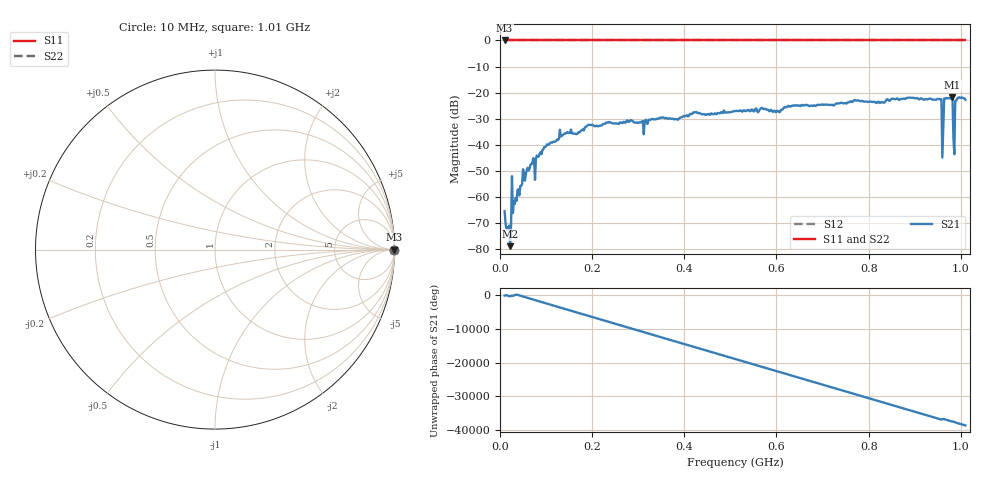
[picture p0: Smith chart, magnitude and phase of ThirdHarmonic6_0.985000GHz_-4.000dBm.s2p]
! 8/16/2025 7:41:47 AM
! C:\ANRITSUVNA\TEMP\TEMP.S2P
! CHANNEL.1
! TR.MEASUREMENT
! RAW.DATA
! RF.CORRECTION.OFF
! AVERAGING.OFF
! IF.BANDWIDTH: 5KHZ
! SWEEPTYPE:  FREQ.SWEEP(Linear)
! Reference Plane Port Info
! PORT:  PORT1  PORT2
! DISTANCE:  0  m  0  m
! TIME:  0  s  0  s
! PHASE.OFFSET:  0  deg.  0  deg.
! LOSS:  0  dB  0  dB
! REF.LOSS:  0  dB  0  dB
! REF.FREQ:  0  Hz  0  Hz
! Power Info
! POWER:  -20  dBm  -20  dBm
! EFF.POWER:  -20  dBm  -20  dBm
! SOURCE.ATTEN:  0  dB  0  dB
! TEST.ATTEN:  0  dB  0  dB
# GHZ S RI R 50.0
! FREQ.GHZ  S11RE  S11IM  S21RE  S21IM  S12RE  S12IM  S22RE  S22IM
!; PortSelection: Port_12
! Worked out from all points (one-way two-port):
!   501 points, 10 MHz to 1.01 GHz, reference 50 ohm
!   highest |S21| = -21.67 dB at 982 MHz (marker M1); lowest = -78.9 dB at 22 MHz (marker M2)
!   lowest |S11| = 0.0 dB at 10 MHz (marker M3)
!   |S11| at or under -10 dB: nowhere
!   |S22| runs from 0.0 to 0.0 dB; largest |S21 - S12| = 1.1
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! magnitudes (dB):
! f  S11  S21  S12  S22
! 10 MHz  0.0  -65.4  0.0  0.0
! 18 MHz  0.0  -71.5  0.0  0.0
! 22 MHz  0.0  -78.9  0.0  0.0
! 30 MHz  0.0  -61.8  0.0  0.0
! 32 MHz  0.0  -62.7  0.0  0.0
! 48 MHz  0.0  -55.1  0.0  0.0
! 70 MHz  0.0  -47.3  0.0  0.0
! 134 MHz  0.0  -36.6  0.0  0.0
! 178 MHz  0.0  -34.3  0.0  0.0
! 344 MHz  0.0  -30.0  0.0  0.0
! 510 MHz  0.0  -27.0  0.0  0.0
! 678 MHz  0.0  -25.2  0.0  0.0
! 844 MHz  0.0  -23.1  0.0  0.0
! 954 MHz  0.0  -22.5  0.0  0.0
! 958 MHz  0.0  -22.6  0.0  0.0
! 964 MHz  0.0  -22.2  0.0  0.0
! 968 MHz  0.0  -22.1  0.0  0.0
! 978 MHz  0.0  -22.3  0.0  0.0
! 982 MHz  0.0  -21.7  0.0  0.0
! 988 MHz  0.0  -23.2  0.0  0.0
! 992 MHz  0.0  -22.4  0.0  0.0
! 1.01 GHz  0.0  -22.7  0.0  0.0
